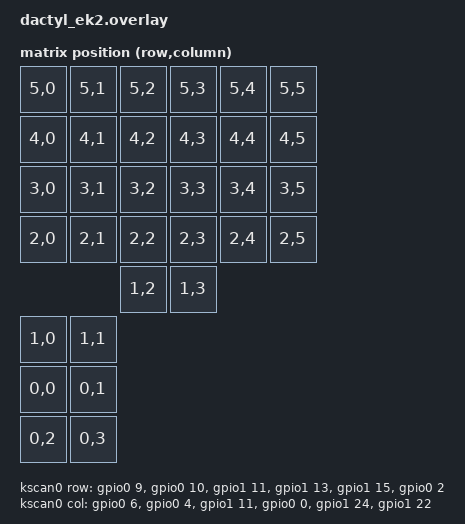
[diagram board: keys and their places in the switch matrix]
#include <dt-bindings/zmk/matrix_transform.h>

/ {
    chosen {
        zmk,kscan = &kscan0;
        zmk,matrix_transform = &default_transform;
    };

    kscan0: kscan_0 {
        compatible = "zmk,kscan-gpio-matrix";
        label = "KSCAN";
        diode-direction = "col2row";

        row-gpios
            = <&gpio0 9  (GPIO_ACTIVE_HIGH | GPIO_PULL_DOWN)> // Row 0 from the schematic file
            , <&gpio0 10 (GPIO_ACTIVE_HIGH | GPIO_PULL_DOWN)> // Row 1 from the schematic file
            , <&gpio1 11 (GPIO_ACTIVE_HIGH | GPIO_PULL_DOWN)> // Row 2 from the schematic file
            , <&gpio1 13 (GPIO_ACTIVE_HIGH | GPIO_PULL_DOWN)> // Row 3 from the schematic file
            , <&gpio1 15 (GPIO_ACTIVE_HIGH | GPIO_PULL_DOWN)> // Row 4 from the schematic file
            , <&gpio0 2  (GPIO_ACTIVE_HIGH | GPIO_PULL_DOWN)> // Row 5 from the schematic file
            ;
    col-gpios
        = <&gpio0 6  GPIO_ACTIVE_HIGH> // col5 in the schematic
        , <&gpio0 4  GPIO_ACTIVE_HIGH> // col4 in the schematic
        , <&gpio1 11 GPIO_ACTIVE_HIGH> // col3 in the schematic
        , <&gpio0 0  GPIO_ACTIVE_HIGH> // col2 in the schematic
        , <&gpio1 24 GPIO_ACTIVE_HIGH> // col1 in the schematic
        , <&gpio1 22 GPIO_ACTIVE_HIGH> // col0 in the schematic
        ;

    };
    default_transform: keymap_transform_0 {
        compatible = "zmk,matrix-transform";
        columns = <6>;
        rows = <8>;
        map = <
            RC(5, 0) RC(5, 1) RC(5, 2) RC(5, 3) RC(5, 4) RC(5, 5)
            RC(4, 0) RC(4, 1) RC(4, 2) RC(4, 3) RC(4, 4) RC(4, 5)
            RC(3, 0) RC(3, 1) RC(3, 2) RC(3, 3) RC(3, 4) RC(3, 5)
            RC(2, 0) RC(2, 1) RC(2, 2) RC(2, 3) RC(2, 4) RC(2, 5)
                              RC(1, 2) RC(1, 3)
            RC(1, 0) RC(1, 1)
            RC(0, 0) RC(0, 1)
            RC(0, 2) RC(0, 3)

        >;
    };
};
